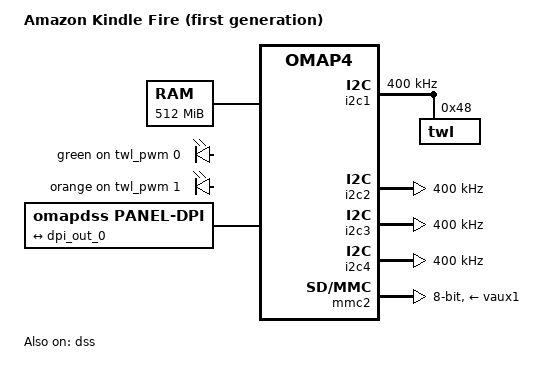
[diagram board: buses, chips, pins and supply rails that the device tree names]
// SPDX-License-Identifier: GPL-2.0-only
/*
 * Copyright (C) 2016 Paul Kocialkowski <contact@paulk.fr>
 */
/dts-v1/;

/* For omapfb driver
[    5.086059] panel-dpi panel: failed to find video source
panel-dpi.c::panel_dpi_probe_pdata() ==> dss-of.c::omapdss_of_find_source_for_first_ep()
*/

#include "omap443x.dtsi"

/ {
	model = "Amazon Kindle Fire (first generation)";
	compatible = "amazon,omap4-kc1", "ti,omap4430", "ti,omap4";

	memory@80000000 {
		device_type = "memory";
		reg = <0x80000000 0x20000000>; /* 512 MB */
	};

	pwmleds {
		compatible = "pwm-leds";

		green {
			label = "green";
			pwms = <&twl_pwm 0 7812500>;
			max-brightness = <127>;
		};

		orange {
			label = "orange";
			pwms = <&twl_pwm 1 7812500>;
			max-brightness = <127>;
		};
	};

	reserved-memory {
		#address-cells = <1>;
		#size-cells = <1>;
		ranges;
	};

	chosen {
		#address-cells = <1>;
		#size-cells = <1>;
		ranges;

		stdout-path = "serial2";
	};

	panel {
		compatible = "omapdss,panel-dpi";
		status = "ok";
		data-lines = <24>;
		enable_gpio = <OMAP4_IOPAD(0x1B, PIN_OUTPUT | MUX_MODE5)>;

		panel-timing {
			/* 1024x600p */
			/* From uboot */
			clock-frequency = <51200000>; 
			hactive = <1024>; //x_res
			vactive = <600>; //y_res
			hsync-len = <10>; //hsw
			hfront-porch = <160>; //hfp
			hback-porch = <150>; //hbp
			vfront-porch = <12>; //vfp
			vback-porch = <20>; //vbp
			vsync-len = <3>; //vsw
		};

		ports {
			#address-cells = <1>;
			#size-cells = <0>;
			port@0 {
				data-lines = <24>;
				panel_dpi_in: endpoint {
					data-lines = <24>;
					remote-endpoint = <&dpi_out_0>;
				};
			};
		};
	};
};

&dss {
	compatible = "ti,omap4-dss";
	status = "ok";
	pinctrl-names = "default";
	pinctrl-0 = <&dss_dpi_pins>;

	dispc@0  {
		status = "ok";
	};

	ports {
		#address-cells = <1>;
		#size-cells = <0>;
		port@0 {
			data-lines = <24>;
			dpi_out_0: endpoint {
				data-lines = <24>;
				remote-endpoint = <&panel_dpi_in>;
			};
		};
	};
};

&dsi1 {
	status = "disabled";
};

&dsi2 {
	status = "disabled";
};

&omap4_pmx_core {
	pinctrl-names = "default";

	dss_dpi_pins: pinmux_dss_dpi_pins {
		pinctrl-single,pins = <
			OMAP4_IOPAD(0x162, PIN_OUTPUT | MUX_MODE5)	/* dispc2_data23 */
			OMAP4_IOPAD(0x164, PIN_OUTPUT | MUX_MODE5) 	/* dispc2_data22 */
			OMAP4_IOPAD(0x166, PIN_OUTPUT | MUX_MODE5)	/* dispc2_data21 */
			OMAP4_IOPAD(0x168, PIN_OUTPUT | MUX_MODE5)	/* dispc2_data20 */
			OMAP4_IOPAD(0x16a, PIN_OUTPUT | MUX_MODE5)	/* dispc2_data19 */
			OMAP4_IOPAD(0x16c, PIN_OUTPUT | MUX_MODE5)	/* dispc2_data18 */
			OMAP4_IOPAD(0x16e, PIN_OUTPUT | MUX_MODE5)	/* dispc2_data15 */
			OMAP4_IOPAD(0x170, PIN_OUTPUT | MUX_MODE5)	/* dispc2_data14 */
			OMAP4_IOPAD(0x172, PIN_OUTPUT | MUX_MODE5)	/* dispc2_data13 */
			OMAP4_IOPAD(0x174, PIN_OUTPUT | MUX_MODE5)	/* dispc2_data12 */
			OMAP4_IOPAD(0x176, PIN_OUTPUT | MUX_MODE5)	/* dispc2_data11 */

			OMAP4_IOPAD(0x1b4, PIN_OUTPUT | MUX_MODE5)	/* dispc2_data10 */
			OMAP4_IOPAD(0x1b6, PIN_OUTPUT | MUX_MODE5)	/* dispc2_data9 */
			OMAP4_IOPAD(0x1b8, PIN_OUTPUT | MUX_MODE5)	/* dispc2_data16 */
			OMAP4_IOPAD(0x1ba, PIN_OUTPUT | MUX_MODE5)	/* dispc2_data17 */
			OMAP4_IOPAD(0x1bc, PIN_OUTPUT | MUX_MODE5)	/* dispc2_hsync */
			OMAP4_IOPAD(0x1be, PIN_OUTPUT | MUX_MODE5)	/* dispc2_pclk */
			OMAP4_IOPAD(0x1c0, PIN_OUTPUT | MUX_MODE5)	/* dispc2_vsync */
			OMAP4_IOPAD(0x1c2, PIN_OUTPUT | MUX_MODE5)	/* dispc2_de */
			OMAP4_IOPAD(0x1c4, PIN_OUTPUT | MUX_MODE5)	/* dispc2_data8 */
			OMAP4_IOPAD(0x1c6, PIN_OUTPUT | MUX_MODE5)	/* dispc2_data7 */
			OMAP4_IOPAD(0x1c8, PIN_OUTPUT | MUX_MODE5)	/* dispc2_data6 */
			OMAP4_IOPAD(0x1ca, PIN_OUTPUT | MUX_MODE5)	/* dispc2_data5 */
			OMAP4_IOPAD(0x1cc, PIN_OUTPUT | MUX_MODE5)	/* dispc2_data4 */
			OMAP4_IOPAD(0x1ce, PIN_OUTPUT | MUX_MODE5)	/* dispc2_data3 */

			OMAP4_IOPAD(0x1d0, PIN_OUTPUT | MUX_MODE5)	/* dispc2_data2 */
			OMAP4_IOPAD(0x1d2, PIN_OUTPUT | MUX_MODE5)	/* dispc2_data1 */
			OMAP4_IOPAD(0x1d4, PIN_OUTPUT | MUX_MODE5)	/* dispc2_data0 */
		>;
	};

	uart3_pins: pinmux_uart3_pins {
		pinctrl-single,pins = <
			OMAP4_IOPAD(0x144, PIN_INPUT | MUX_MODE0)		/* uart3_rx_irrx */
			OMAP4_IOPAD(0x146, PIN_OUTPUT | MUX_MODE0)		/* uart3_tx_irtx */
		>;
	};

	i2c1_pins: pinmux_i2c1_pins {
		pinctrl-single,pins = <
			OMAP4_IOPAD(0x122, PIN_INPUT_PULLUP | MUX_MODE0)	/* i2c1_scl */
			OMAP4_IOPAD(0x124, PIN_INPUT_PULLUP | MUX_MODE0)	/* i2c1_sda */
		>;
	};

	i2c2_pins: pinmux_i2c2_pins {
		pinctrl-single,pins = <
			OMAP4_IOPAD(0x126, PIN_INPUT_PULLUP | MUX_MODE0)	/* i2c2_scl */
			OMAP4_IOPAD(0x128, PIN_INPUT_PULLUP | MUX_MODE0)	/* i2c2_sda */
		>;
	};

	i2c3_pins: pinmux_i2c3_pins {
		pinctrl-single,pins = <
			OMAP4_IOPAD(0x12a, PIN_INPUT_PULLUP | MUX_MODE0)	/* i2c3_scl */
			OMAP4_IOPAD(0x12c, PIN_INPUT_PULLUP | MUX_MODE0)	/* i2c3_sda */
		>;
	};

	i2c4_pins: pinmux_i2c4_pins {
		pinctrl-single,pins = <
			OMAP4_IOPAD(0x12e, PIN_INPUT_PULLUP | MUX_MODE0)	/* i2c4_scl */
			OMAP4_IOPAD(0x130, PIN_INPUT_PULLUP | MUX_MODE0)	/* i2c4_sda */
		>;
	};

	mmc2_pins: pinmux_mmc2_pins {
		pinctrl-single,pins = <
			OMAP4_IOPAD(0x040, PIN_INPUT_PULLUP | MUX_MODE1)	/* sdmmc2_dat0 */
			OMAP4_IOPAD(0x042, PIN_INPUT_PULLUP | MUX_MODE1)	/* sdmmc2_dat1 */
			OMAP4_IOPAD(0x044, PIN_INPUT_PULLUP | MUX_MODE1)	/* sdmmc2_dat2 */
			OMAP4_IOPAD(0x046, PIN_INPUT_PULLUP | MUX_MODE1)	/* sdmmc2_dat3 */
			OMAP4_IOPAD(0x048, PIN_INPUT_PULLUP | MUX_MODE1)	/* sdmmc2_dat4 */
			OMAP4_IOPAD(0x04a, PIN_INPUT_PULLUP | MUX_MODE1)	/* sdmmc2_dat5 */
			OMAP4_IOPAD(0x04c, PIN_INPUT_PULLUP | MUX_MODE1)	/* sdmmc2_dat6 */
			OMAP4_IOPAD(0x04e, PIN_INPUT_PULLUP | MUX_MODE1)	/* sdmmc2_dat7 */
			OMAP4_IOPAD(0x082, PIN_INPUT_PULLUP | MUX_MODE1)	/* sdmmc2_clk */
			OMAP4_IOPAD(0x084, PIN_INPUT_PULLUP | MUX_MODE1)	/* sdmmc2_cmd */
		>;
	};

	usb_otg_hs_pins: pinmux_usb_otg_hs_pins {
		pinctrl-single,pins = <
			OMAP4_IOPAD(0x194, PIN_OUTPUT_PULLDOWN | MUX_MODE0)	/* usba0_otg_ce */
			OMAP4_IOPAD(0x196, PIN_INPUT | MUX_MODE0)		/* usba0_otg_dp */
			OMAP4_IOPAD(0x198, PIN_INPUT | MUX_MODE0)		/* usba0_otg_dm */
		>;
	};
};

&uart3 {
	pinctrl-names = "default";
	pinctrl-0 = <&uart3_pins>;

	interrupts-extended = <&wakeupgen GIC_SPI 74 IRQ_TYPE_LEVEL_HIGH
			       &omap4_pmx_core OMAP4_UART3_RX>;
};

&i2c1 {
	pinctrl-names = "default";
	pinctrl-0 = <&i2c1_pins>;

	clock-frequency = <400000>;

	twl: twl@48 {
		reg = <0x48>;
		/* IRQ# = 7 */
		interrupts = <GIC_SPI 7 IRQ_TYPE_LEVEL_HIGH>; /* IRQ_SYS_1N cascaded to gic */

		twl_power: power {
			compatible = "ti,twl6030-power";
			ti,system-power-controller;
		};
	};
};

&i2c2 {
	pinctrl-names = "default";
	pinctrl-0 = <&i2c2_pins>;

	clock-frequency = <400000>;
};

&i2c3 {
	pinctrl-names = "default";
	pinctrl-0 = <&i2c3_pins>;

	clock-frequency = <400000>;
};

&i2c4 {
	pinctrl-names = "default";
	pinctrl-0 = <&i2c4_pins>;

	clock-frequency = <400000>;
};

&mmc1 {
	status = "disabled";
};

&mmc2 {
	pinctrl-names = "default";
	pinctrl-0 = <&mmc2_pins>;

	vmmc-supply = <&vaux1>;
	ti,non-removable;
	bus-width = <8>;
};

&mmc3 {
	status = "disabled";
};

&mmc4 {
	status = "disabled";
};

&usb_otg_hs {
	pinctrl-names = "default";
	pinctrl-0 = <&usb_otg_hs_pins>;

	interface-type = <1>;
	mode = <3>;
	power = <50>;
};

#include "twl6030.dtsi"
#include "twl6030_omap4.dtsi"

&twl_usb_comparator {
	usb-supply = <&vusb>;
};
